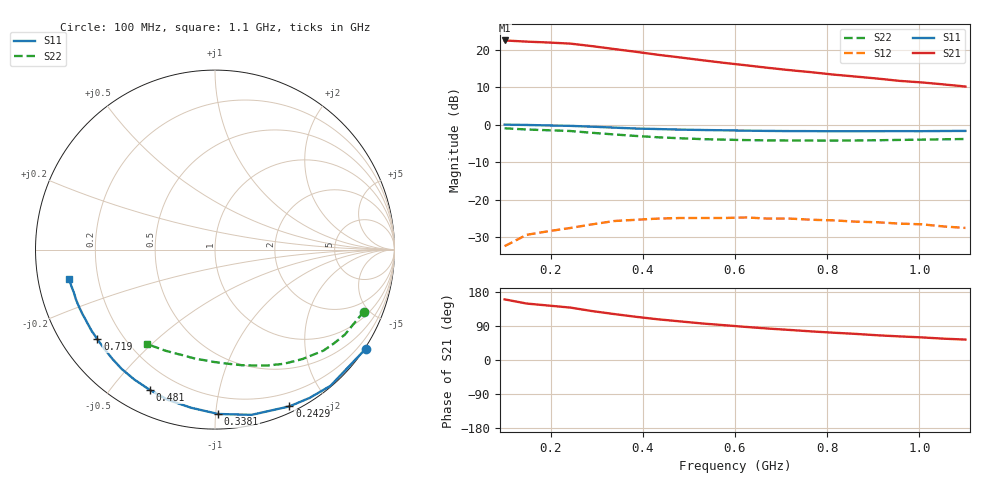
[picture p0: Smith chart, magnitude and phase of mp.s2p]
! ListType=Lin
! Comment=mag phase
# MHZ S MA R 50
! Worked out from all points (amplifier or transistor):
!   22 points, 100 MHz to 1.1 GHz, reference 50 ohm
!   highest |S21| = 22.5 dB at 100 MHz (marker M1)
!   |S21| within 3 dB of that: start of sweep to 383.2 MHz
!   unconditionally stable (mu >= 1): nowhere
!   at 242.9 MHz: K = -0.05, MSG = 24.6 dB, |S12| = -27.5 dB
!   at 623.8 MHz: K = 0.07, MSG = 20.3 dB, |S12| = -24.7 dB
!   at 1.1 GHz: K = 0.29, MSG = 18.9 dB, |S12| = -27.5 dB
!   S11 on the Smith chart (normalised r, x): 100 MHz: -0.03, -3.33; 242.9 MHz: 0.06, -1.58; 338.1 MHz: 0.09, -1.02; 481 MHz: 0.10, -0.63; 719 MHz: 0.11, -0.33; 1.1 GHz: 0.10, -0.10
100  1.005 -33.4  13.34 160.0  0.024 68.3  0.898 -22.6
147.619  0.995 -49.7  12.87 149.0  0.034 57.9  0.865 -33.1
195.2381  0.98 -57.5  12.53 143.6  0.038 53.2  0.845 -38.0
242.8571  0.967 -64.6  12.11 138.3  0.042 47.8  0.826 -42.9
290.4762  0.943 -77.5  11.19 129.0  0.047 39.3  0.781 -51.3
338.0952  0.916 -88.9  10.25 121.2  0.052 32.3  0.743 -58.9
385.7143  0.891 -98.7  9.403 113.9  0.054 26.2  0.709 -65.6
433.3333  0.877 -107.6  8.582 107.3  0.056 20.6  0.681 -71.5
480.9524  0.862 -115.0  7.916 101.9  0.057 15.7  0.661 -77.0
528.5714  0.852 -121.9  7.273 96.4  0.057 11.2  0.644 -82.0
576.1905  0.844 -128.1  6.706 91.9  0.057 7.5  0.633 -86.6
623.8095  0.835 -133.3  6.224 87.3  0.058 3.4  0.625 -91.2
671.4286  0.828 -138.3  5.755 83.0  0.056 0.2  0.619 -95.2
719.0476  0.824 -142.7  5.358 79.3  0.056 -2.5  0.618 -99.0
766.6667  0.823 -146.8  5.024 75.4  0.054 -5.8  0.616 -102.9
814.2857  0.82 -150.6  4.671 72.0  0.053 -8.4  0.615 -106.6
861.9048  0.821 -153.9  4.398 68.9  0.051 -10.5  0.618 -110.1
909.5238  0.822 -157.2  4.134 65.2  0.05 -13.3  0.622 -113.2
957.1429  0.823 -160.2  3.853 62.3  0.048 -15.2  0.628 -116.5
1004.762  0.822 -163.1  3.677 59.7  0.047 -17.2  0.633 -119.8
1052.381  0.826 -165.9  3.459 56.3  0.044 -19.5  0.64 -122.9
1100  0.828 -168.4  3.241 53.9  0.042 -20.2  0.646 -125.7
